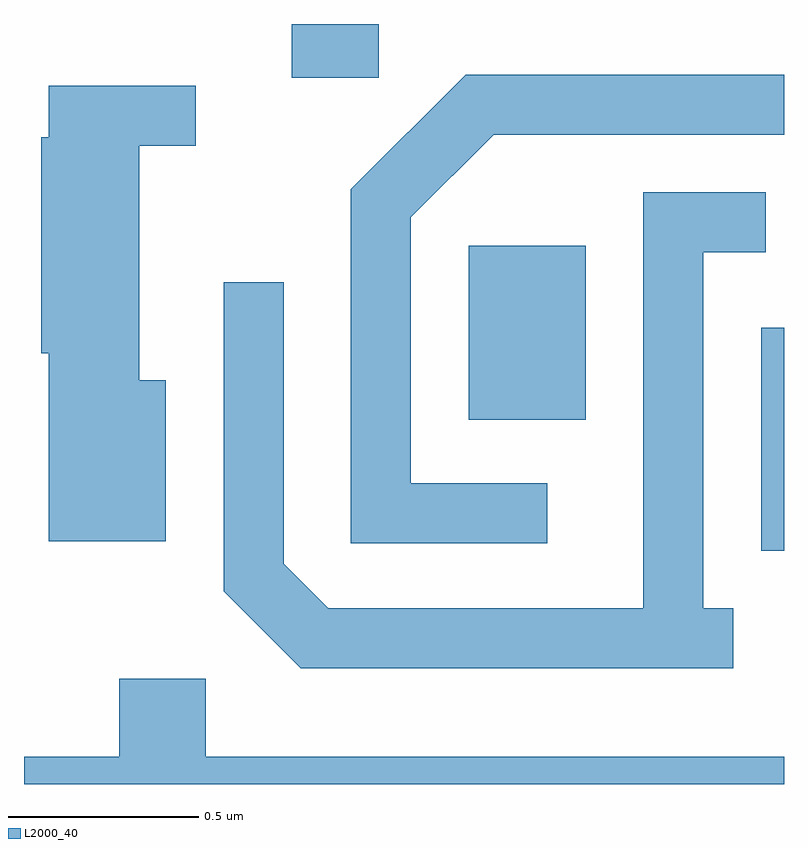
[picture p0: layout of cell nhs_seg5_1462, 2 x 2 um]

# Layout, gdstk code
import gdstk
lib = gdstk.Library(unit=1e-6, precision=1e-09)
def R(c, l, rs):  # rectangles x0, y0, x1, y1
    for r in rs: c.add(gdstk.rectangle(r[:2], r[2:], *l))
def P(c, l, *ps):  # polygons
    for p in ps: c.add(gdstk.Polygon(p, *l))
L2000_40 = (2000, 40)

nhs_seg5_1462 = lib.new_cell('nhs_seg5_1462')
R(nhs_seg5_1462, L2000_40, [(197.551,1488.686,197.611,1489.273), (196.781,1489.031,197.089,1489.489), (196.316,1489.931,196.544,1490.072)])
P(nhs_seg5_1462, L2000_40, [(196.988,1488.864),(196.629,1488.864),(196.629,1489.564),(196.847,1489.781),(197.611,1489.781),(197.611,1489.939),(196.774,1489.939),(196.471,1489.637),(196.471,1488.706),(196.988,1488.706)],
  [(195.984,1489.134),(195.914,1489.134),(195.914,1489.751),(196.063,1489.751),(196.063,1489.909),(195.676,1489.909),(195.676,1489.774),(195.656,1489.774),(195.656,1489.206),(195.676,1489.206),(195.676,1488.711),(195.984,1488.711)],
  [(197.478,1488.534),(197.399,1488.534),(197.399,1489.471),(197.563,1489.471),(197.563,1489.629),(197.241,1489.629),(197.241,1488.534),(196.412,1488.534),(196.294,1488.652),(196.294,1489.393),(196.136,1489.393),(196.136,1488.579),(196.339,1488.376),(197.478,1488.376)],
  [(197.611,1488.144),(196.089,1488.144),(196.089,1488.349),(195.861,1488.349),(195.861,1488.144),(195.611,1488.144),(195.611,1488.072),(197.611,1488.072)])

lib.write_gds('nhs_seg5_1462.gds')
